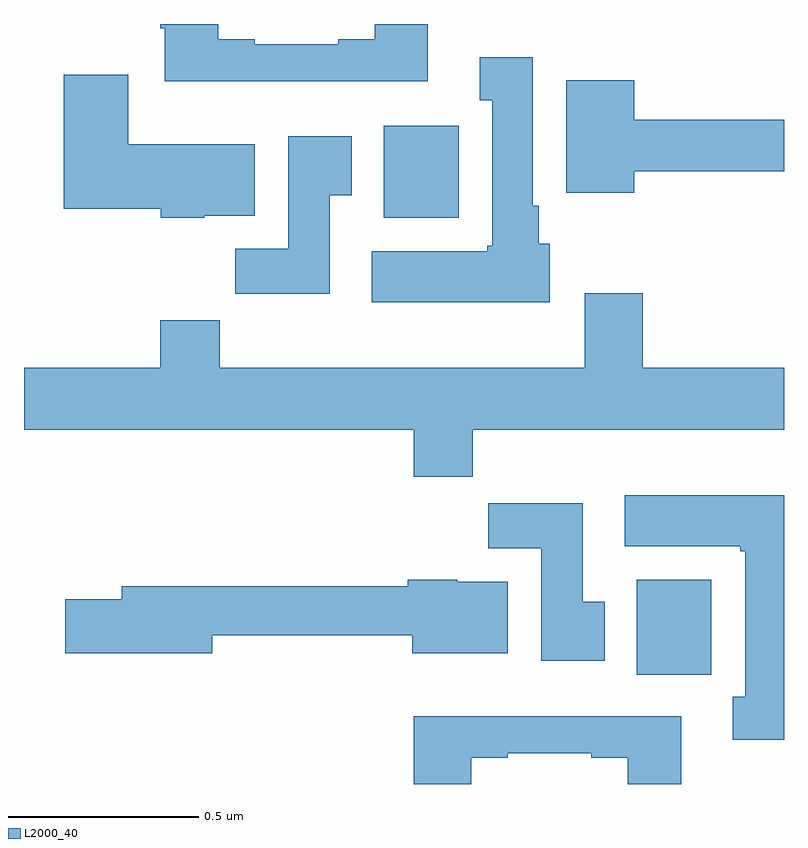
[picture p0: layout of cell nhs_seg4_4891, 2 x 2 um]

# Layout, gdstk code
import gdstk
lib = gdstk.Library(unit=1e-6, precision=1e-09)
def R(c, l, rs):  # rectangles x0, y0, x1, y1
    for r in rs: c.add(gdstk.rectangle(r[:2], r[2:], *l))
def P(c, l, *ps):  # polygons
    for p in ps: c.add(gdstk.Polygon(p, *l))
L2000_40 = (2000, 40)

nhs_seg4_4891 = lib.new_cell('nhs_seg4_4891')
R(nhs_seg4_4891, L2000_40, [(172.613,784.188,172.809,784.438), (171.947,785.39,172.144,785.632)])
P(nhs_seg4_4891, L2000_40, [(172.063,785.9),(171.923,785.9),(171.923,785.86),(171.827,785.86),(171.827,785.847),(171.607,785.847),(171.607,785.86),(171.511,785.86),(171.511,785.9),(171.359,785.9),(171.359,785.889),(171.371,785.889),(171.371,785.75),(172.063,785.75)],
  [(172.384,785.322),(172.354,785.322),(172.354,785.422),(172.339,785.422),(172.339,785.812),(172.199,785.812),(172.199,785.699),(172.232,785.699),(172.232,785.316),(172.219,785.316),(172.219,785.302),(171.915,785.302),(171.915,785.168),(172.384,785.168)],
  [(171.474,785.396),(171.607,785.396),(171.607,785.584),(171.274,785.584),(171.274,785.767),(171.104,785.767),(171.104,785.414),(171.36,785.414),(171.36,785.39),(171.474,785.39)],
  [(172.606,785.512),(173,785.512),(173,785.648),(172.606,785.648),(172.606,785.752),(172.427,785.752),(172.427,785.456),(172.606,785.456)],
  [(171.805,785.449),(171.862,785.449),(171.862,785.605),(171.695,785.605),(171.695,785.308),(171.556,785.308),(171.556,785.19),(171.805,785.19)],
  [(172.181,784.832),(173,784.832),(173,784.996),(172.628,784.996),(172.628,785.191),(172.475,785.191),(172.475,784.996),(171.515,784.996),(171.515,785.12),(171.359,785.12),(171.359,784.996),(171,784.996),(171,784.832),(172.025,784.832),(172.025,784.708),(172.181,784.708)],
  [(173,784.66),(172.581,784.66),(172.581,784.526),(172.885,784.526),(172.885,784.513),(172.898,784.513),(172.898,784.129),(172.865,784.129),(172.865,784.017),(173,784.017)],
  [(172.528,784.38),(172.471,784.38),(172.471,784.639),(172.222,784.639),(172.222,784.52),(172.361,784.52),(172.361,784.224),(172.528,784.224)],
  [(171.496,784.291),(172.022,784.291),(172.022,784.244),(172.273,784.244),(172.273,784.432),(172.14,784.432),(172.14,784.438),(172.01,784.438),(172.01,784.42),(171.257,784.42),(171.257,784.386),(171.108,784.386),(171.108,784.244),(171.496,784.244)],
  [(172.177,783.969),(172.273,783.969),(172.273,783.981),(172.493,783.981),(172.493,783.969),(172.589,783.969),(172.589,783.9),(172.729,783.9),(172.729,784.078),(172.025,784.078),(172.025,783.9),(172.177,783.9)])

lib.write_gds('nhs_seg4_4891.gds')
